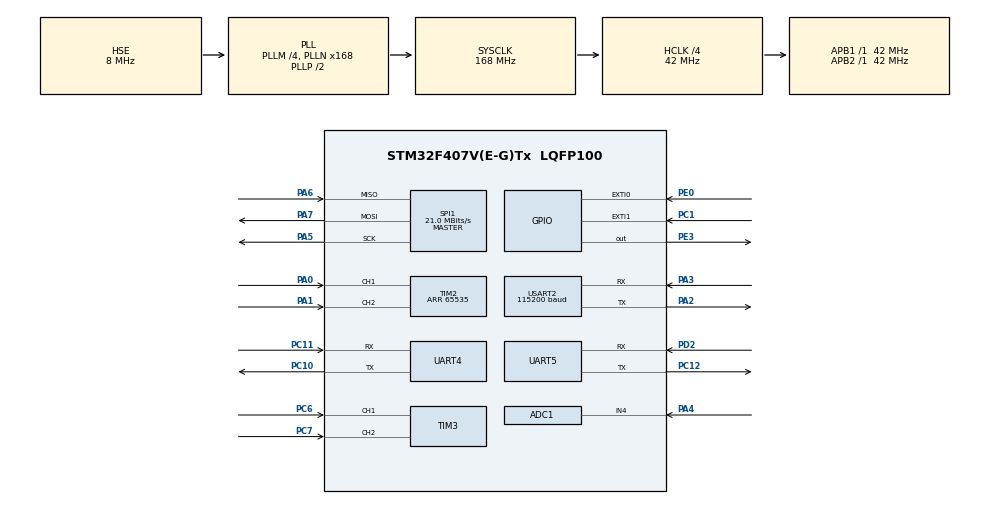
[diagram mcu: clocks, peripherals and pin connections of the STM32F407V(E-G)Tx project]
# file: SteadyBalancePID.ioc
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ADC1.Channel-0\#ChannelRegularConversion=ADC_CHANNEL_4
ADC1.ExternalTrigConv=ADC_EXTERNALTRIGCONV_T8_TRGO
ADC1.NbrOfConversionFlag=1
ADC1.Rank-0\#ChannelRegularConversion=1
ADC1.SamplingTime-0\#ChannelRegularConversion=ADC_SAMPLETIME_15CYCLES
ADC1.master=1
Mcu.Family=STM32F4
Mcu.Name=STM32F407V(E-G)Tx
Mcu.Package=LQFP100
NVIC.ADC_IRQn=true\:2\:0\:true\:false\:true\:true\:true\:true
NVIC.EXTI1_IRQn=true\:0\:0\:false\:false\:true\:true\:true\:true
NVIC.PriorityGroup=NVIC_PRIORITYGROUP_4
NVIC.TIM1_UP_TIM10_IRQn=true\:1\:0\:true\:false\:true\:true\:true\:true
NVIC.TIM8_TRG_COM_TIM14_IRQn=true\:2\:0\:true\:false\:true\:true\:true\:true
NVIC.TIM8_UP_TIM13_IRQn=true\:2\:0\:true\:false\:true\:true\:true\:true
PA0-WKUP.Signal=S_TIM2_CH1_ETR
PA1.Signal=S_TIM2_CH2
PA2.Mode=Asynchronous
PA2.Signal=USART2_TX
PA3.Mode=Asynchronous
PA3.Signal=USART2_RX
PA4.Signal=ADCx_IN4
PA5.Mode=Full_Duplex_Master
PA5.Signal=SPI1_SCK
PA6.Mode=Full_Duplex_Master
PA6.Signal=SPI1_MISO
PA7.Mode=Full_Duplex_Master
PA7.Signal=SPI1_MOSI
PC1.GPIO_ModeDefaultEXTI=GPIO_MODE_IT_FALLING
PC1.GPIO_PuPd=GPIO_PULLUP
PC1.Signal=GPXTI1
PC10.Mode=Asynchronous
PC10.Signal=UART4_TX
PC11.Mode=Asynchronous
PC11.Signal=UART4_RX
PC12.Mode=Asynchronous
PC12.Signal=UART5_TX
PC6.Signal=S_TIM3_CH1
PC7.Signal=S_TIM3_CH2
PD2.Mode=Asynchronous
PD2.Signal=UART5_RX
PE0.Signal=GPXTI0
PE3.Signal=GPIO_Output
PH0-OSC_IN.Mode=HSE-External-Oscillator
PH0-OSC_IN.Signal=RCC_OSC_IN
PH1-OSC_OUT.Mode=HSE-External-Oscillator
PH1-OSC_OUT.Signal=RCC_OSC_OUT
ProjectManager.HeapSize=0x200
ProjectManager.StackSize=0x400
ProjectManager.TargetToolchain=STM32CubeIDE
RCC.48MHZClocksFreq_Value=84000000
RCC.AHBCLKDivider=RCC_SYSCLK_DIV4
RCC.AHBFreq_Value=42000000
RCC.APB1Freq_Value=42000000
RCC.APB1TimFreq_Value=42000000
RCC.APB2Freq_Value=42000000
RCC.APB2TimFreq_Value=42000000
RCC.CortexFreq_Value=42000000
RCC.HCLKFreq_Value=42000000
RCC.HSE_VALUE=8000000
RCC.HSI_VALUE=16000000
RCC.LSE_VALUE=32768
RCC.PLLM=4
RCC.PLLN=168
RCC.PLLSourceVirtual=RCC_PLLSOURCE_HSE
RCC.SYSCLKFreq_VALUE=168000000
RCC.SYSCLKSource=RCC_SYSCLKSOURCE_PLLCLK
RCC.VCOOutputFreq_Value=336000000
SH.ADCx_IN4.0=ADC1_IN4,IN4
SH.S_TIM2_CH1_ETR.0=TIM2_CH1,Encoder_Interface
SH.S_TIM2_CH2.0=TIM2_CH2,Encoder_Interface
SH.S_TIM3_CH1.0=TIM3_CH1,Encoder_Interface
SH.S_TIM3_CH2.0=TIM3_CH2,Encoder_Interface
SPI1.BaudRatePrescaler=SPI_BAUDRATEPRESCALER_2
SPI1.CalculateBaudRate=21.0 MBits/s
SPI1.Direction=SPI_DIRECTION_2LINES
SPI1.Mode=SPI_MODE_MASTER
SPI1.VirtualType=VM_MASTER
TIM10.Period=10000
TIM10.Prescaler=42
TIM11.Prescaler=42
TIM13.Period=100
TIM13.Prescaler=4200
TIM14.Period=2000
TIM14.Prescaler=42
TIM2.EncoderMode=TIM_ENCODERMODE_TI12
TIM2.Period=65535
TIM3.EncoderMode=TIM_ENCODERMODE_TI12
TIM5.CounterMode=TIM_COUNTERMODE_DOWN
TIM5.Period=0
TIM5.Prescaler=42
TIM8.Period=10000
TIM8.Prescaler=42
TIM8.TIM_MasterOutputTrigger=TIM_TRGO_UPDATE
TIM8.TIM_MasterSlaveMode=TIM_MASTERSLAVEMODE_DISABLE
UART4.VirtualMode=Asynchronous
UART5.VirtualMode=Asynchronous
USART2.BaudRate=115200
USART2.VirtualMode=VM_ASYNC
VP_TIM10_VS_ClockSourceINT.Mode=Enable_Timer
VP_TIM11_VS_ClockSourceINT.Mode=Enable_Timer
VP_TIM13_VS_ClockSourceINT.Mode=Enable_Timer
VP_TIM14_VS_ClockSourceINT.Mode=Enable_Timer
VP_TIM5_VS_ClockSourceINT.Mode=Internal
VP_TIM8_VS_ClockSourceINT.Mode=Internal
board=custom

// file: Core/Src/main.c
/* USER CODE BEGIN Header */
/**
  ******************************************************************************
  * @file           : main.c
  * @brief          : Main program body
  ******************************************************************************
  * @attention
  *
  * Copyright (c) 2025 STMicroelectronics.
  * All rights reserved.
  *
  * This software is licensed under terms that can be found in the LICENSE file
  * in the root directory of this software component.
  * If no LICENSE file comes with this software, it is provided AS-IS.
  *
  ******************************************************************************
  */
/* USER CODE END Header */
#include "main.h"

/* USER CODE BEGIN Includes */
#include "qik_2s12v10_lib.h"
#include "accelerometer.h"
#include "gyroscope.h"
#include "encoders.h"
#include "control.h"
#include "uart_debug.h"
#include "filters.h"
#include "KalmanFilter.h"

/* USER CODE END Includes */

ADC_HandleTypeDef hadc1;

SPI_HandleTypeDef hspi1;

TIM_HandleTypeDef htim2;
TIM_HandleTypeDef htim3;
TIM_HandleTypeDef htim5;
TIM_HandleTypeDef htim8;
TIM_HandleTypeDef htim10;
TIM_HandleTypeDef htim11;
TIM_HandleTypeDef htim13;
TIM_HandleTypeDef htim14;

UART_HandleTypeDef huart4;
UART_HandleTypeDef huart5;
UART_HandleTypeDef huart2;

/* USER CODE BEGIN PV */

volatile uint16_t cnt1, cnt2, cnt3, cnt4;

/* USER CODE END PV */

void SystemClock_Config(void);
static void MX_GPIO_Init(void);
static void MX_SPI1_Init(void);
static void MX_ADC1_Init(void);
static void MX_TIM2_Init(void);
static void MX_TIM3_Init(void);
static void MX_USART2_UART_Init(void);
static void MX_TIM10_Init(void);
static void MX_UART4_Init(void);
static void MX_UART5_Init(void);
static void MX_TIM11_Init(void);
static void MX_TIM5_Init(void);
static void MX_TIM8_Init(void);
static void MX_TIM14_Init(void);
static void MX_TIM13_Init(void);

int main(void)
{

  /* MCU Configuration--------------------------------------------------------*/

  /* Reset of all peripherals, Initializes the Flash interface and the Systick. */
  HAL_Init();

  /* Configure the system clock */
  SystemClock_Config();

  /* Initialize all configured peripherals */
  MX_GPIO_Init();
  MX_SPI1_Init();
  MX_ADC1_Init();
  MX_TIM2_Init();
  MX_TIM3_Init();
  MX_USART2_UART_Init();
  MX_TIM10_Init();
  MX_UART4_Init();
  MX_UART5_Init();
  MX_TIM11_Init();
  MX_TIM5_Init();
  MX_TIM8_Init();
  MX_TIM14_Init();
  MX_TIM13_Init();
  /* USER CODE BEGIN 2 */

  KalmanInit();

  HAL_TIM_Base_Start(&htim8);
  HAL_ADC_Start_IT(&hadc1);

  calculateGyroAVelocityBase(50);

  AccelInit(&hspi1);

//  __HAL_TIM_SET_COMPARE(&htim10,TIM_CHANNEL_1, 10); // questionable?

  HAL_TIM_Encoder_Start(&htim2, TIM_CHANNEL_1);
  HAL_TIM_Encoder_Start(&htim2, TIM_CHANNEL_2);

  __HAL_TIM_SET_COUNTER(&htim3, START_POSITION);				// middle position
  HAL_TIM_Encoder_Start(&htim3, TIM_CHANNEL_1);
  HAL_TIM_Encoder_Start(&htim3, TIM_CHANNEL_2);

  HAL_TIM_Base_Start_IT(&htim10);	// 10ms
  HAL_TIM_Base_Start_IT(&htim14);	// 2ms
  HAL_TIM_Base_Start_IT(&htim13);	// 100ms

  //IIR3_Init(&lFilter, b, a);
  //IIR3_Init(&rFilter, b, a);

  /* USER CODE END 2 */

  /* Infinite loop */
  /* USER CODE BEGIN WHILE */
  while (1)
  {
	  // Test

	  //TestDriver(&huart2);
	  //readAccelerometer(&hspi1);
	  //volatile gyroAngle;

	   //readAccelerometer(&hspi1);
	   //getEncoders(&htim2, &htim3);
	   //calculateSpeed();
	   //pcTransmitBin(&huart5);
	   //moveMotors(&huart2, &htim5, speed);

    /* USER CODE END WHILE */

  }
}

void SystemClock_Config(void)
{
  RCC_OscInitTypeDef RCC_OscInitStruct = {0};
  RCC_ClkInitTypeDef RCC_ClkInitStruct = {0};

  /** Configure the main internal regulator output voltage
  */
  __HAL_RCC_PWR_CLK_ENABLE();
  __HAL_PWR_VOLTAGESCALING_CONFIG(PWR_REGULATOR_VOLTAGE_SCALE1);

  /** Initializes the RCC Oscillators according to the specified parameters
  * in the RCC_OscInitTypeDef structure.
  */
  RCC_OscInitStruct.OscillatorType = RCC_OSCILLATORTYPE_HSE;
  RCC_OscInitStruct.HSEState = RCC_HSE_ON;
  RCC_OscInitStruct.PLL.PLLState = RCC_PLL_ON;
  RCC_OscInitStruct.PLL.PLLSource = RCC_PLLSOURCE_HSE;
  RCC_OscInitStruct.PLL.PLLM = 4;
  RCC_OscInitStruct.PLL.PLLN = 168;
  RCC_OscInitStruct.PLL.PLLP = RCC_PLLP_DIV2;
  RCC_OscInitStruct.PLL.PLLQ = 4;
  if (HAL_RCC_OscConfig(&RCC_OscInitStruct) != HAL_OK)
  {
    Error_Handler();
  }

  /** Initializes the CPU, AHB and APB buses clocks
  */
  RCC_ClkInitStruct.ClockType = RCC_CLOCKTYPE_HCLK|RCC_CLOCKTYPE_SYSCLK
                              |RCC_CLOCKTYPE_PCLK1|RCC_CLOCKTYPE_PCLK2;
  RCC_ClkInitStruct.SYSCLKSource = RCC_SYSCLKSOURCE_PLLCLK;
  RCC_ClkInitStruct.AHBCLKDivider = RCC_SYSCLK_DIV4;
  RCC_ClkInitStruct.APB1CLKDivider = RCC_HCLK_DIV1;
  RCC_ClkInitStruct.APB2CLKDivider = RCC_HCLK_DIV1;

  if (HAL_RCC_ClockConfig(&RCC_ClkInitStruct, FLASH_LATENCY_1) != HAL_OK)
  {
    Error_Handler();
  }
}

static void MX_ADC1_Init(void)
{

  ADC_ChannelConfTypeDef sConfig = {0};

  /** Configure the global features of the ADC (Clock, Resolution, Data Alignment and number of conversion)
  */
  hadc1.Instance = ADC1;
  hadc1.Init.ClockPrescaler = ADC_CLOCK_SYNC_PCLK_DIV2;
  hadc1.Init.Resolution = ADC_RESOLUTION_12B;
  hadc1.Init.ScanConvMode = DISABLE;
  hadc1.Init.ContinuousConvMode = DISABLE;
  hadc1.Init.DiscontinuousConvMode = DISABLE;
  hadc1.Init.ExternalTrigConvEdge = ADC_EXTERNALTRIGCONVEDGE_RISING;
  hadc1.Init.ExternalTrigConv = ADC_EXTERNALTRIGCONV_T8_TRGO;
  hadc1.Init.DataAlign = ADC_DATAALIGN_RIGHT;
  hadc1.Init.NbrOfConversion = 1;
  hadc1.Init.DMAContinuousRequests = DISABLE;
  hadc1.Init.EOCSelection = ADC_EOC_SINGLE_CONV;
  if (HAL_ADC_Init(&hadc1) != HAL_OK)
  {
    Error_Handler();
  }

  /** Configure for the selected ADC regular channel its corresponding rank in the sequencer and its sample time.
  */
  sConfig.Channel = ADC_CHANNEL_4;
  sConfig.Rank = 1;
  sConfig.SamplingTime = ADC_SAMPLETIME_15CYCLES;
  if (HAL_ADC_ConfigChannel(&hadc1, &sConfig) != HAL_OK)
  {
    Error_Handler();
  }

}

static void MX_SPI1_Init(void)
{

  /* SPI1 parameter configuration*/
  hspi1.Instance = SPI1;
  hspi1.Init.Mode = SPI_MODE_MASTER;
  hspi1.Init.Direction = SPI_DIRECTION_2LINES;
  hspi1.Init.DataSize = SPI_DATASIZE_8BIT;
  hspi1.Init.CLKPolarity = SPI_POLARITY_LOW;
  hspi1.Init.CLKPhase = SPI_PHASE_1EDGE;
  hspi1.Init.NSS = SPI_NSS_SOFT;
  hspi1.Init.BaudRatePrescaler = SPI_BAUDRATEPRESCALER_2;
  hspi1.Init.FirstBit = SPI_FIRSTBIT_MSB;
  hspi1.Init.TIMode = SPI_TIMODE_DISABLE;
  hspi1.Init.CRCCalculation = SPI_CRCCALCULATION_DISABLE;
  hspi1.Init.CRCPolynomial = 10;
  if (HAL_SPI_Init(&hspi1) != HAL_OK)
  {
    Error_Handler();
  }

}

static void MX_TIM2_Init(void)
{

  TIM_Encoder_InitTypeDef sConfig = {0};
  TIM_MasterConfigTypeDef sMasterConfig = {0};

  htim2.Instance = TIM2;
  htim2.Init.Prescaler = 0;
  htim2.Init.CounterMode = TIM_COUNTERMODE_UP;
  htim2.Init.Period = 65535;
  htim2.Init.ClockDivision = TIM_CLOCKDIVISION_DIV1;
  htim2.Init.AutoReloadPreload = TIM_AUTORELOAD_PRELOAD_DISABLE;
  sConfig.EncoderMode = TIM_ENCODERMODE_TI12;
  sConfig.IC1Polarity = TIM_ICPOLARITY_RISING;
  sConfig.IC1Selection = TIM_ICSELECTION_DIRECTTI;
  sConfig.IC1Prescaler = TIM_ICPSC_DIV1;
  sConfig.IC1Filter = 0;
  sConfig.IC2Polarity = TIM_ICPOLARITY_RISING;
  sConfig.IC2Selection = TIM_ICSELECTION_DIRECTTI;
  sConfig.IC2Prescaler = TIM_ICPSC_DIV1;
  sConfig.IC2Filter = 0;
  if (HAL_TIM_Encoder_Init(&htim2, &sConfig) != HAL_OK)
  {
    Error_Handler();
  }
  sMasterConfig.MasterOutputTrigger = TIM_TRGO_RESET;
  sMasterConfig.MasterSlaveMode = TIM_MASTERSLAVEMODE_DISABLE;
  if (HAL_TIMEx_MasterConfigSynchronization(&htim2, &sMasterConfig) != HAL_OK)
  {
    Error_Handler();
  }

}

static void MX_TIM3_Init(void)
{

  TIM_Encoder_InitTypeDef sConfig = {0};
  TIM_MasterConfigTypeDef sMasterConfig = {0};

  htim3.Instance = TIM3;
  htim3.Init.Prescaler = 0;
  htim3.Init.CounterMode = TIM_COUNTERMODE_UP;
  htim3.Init.Period = 65535;
  htim3.Init.ClockDivision = TIM_CLOCKDIVISION_DIV1;
  htim3.Init.AutoReloadPreload = TIM_AUTORELOAD_PRELOAD_DISABLE;
  sConfig.EncoderMode = TIM_ENCODERMODE_TI12;
  sConfig.IC1Polarity = TIM_ICPOLARITY_RISING;
  sConfig.IC1Selection = TIM_ICSELECTION_DIRECTTI;
  sConfig.IC1Prescaler = TIM_ICPSC_DIV1;
  sConfig.IC1Filter = 0;
  sConfig.IC2Polarity = TIM_ICPOLARITY_RISING;
  sConfig.IC2Selection = TIM_ICSELECTION_DIRECTTI;
  sConfig.IC2Prescaler = TIM_ICPSC_DIV1;
  sConfig.IC2Filter = 0;
  if (HAL_TIM_Encoder_Init(&htim3, &sConfig) != HAL_OK)
  {
    Error_Handler();
  }
  sMasterConfig.MasterOutputTrigger = TIM_TRGO_RESET;
  sMasterConfig.MasterSlaveMode = TIM_MASTERSLAVEMODE_DISABLE;
  if (HAL_TIMEx_MasterConfigSynchronization(&htim3, &sMasterConfig) != HAL_OK)
  {
    Error_Handler();
  }

}

static void MX_TIM5_Init(void)
{

  TIM_ClockConfigTypeDef sClockSourceConfig = {0};
  TIM_MasterConfigTypeDef sMasterConfig = {0};

  htim5.Instance = TIM5;
  htim5.Init.Prescaler = 42;
  htim5.Init.CounterMode = TIM_COUNTERMODE_DOWN;
  htim5.Init.Period = 0;
  htim5.Init.ClockDivision = TIM_CLOCKDIVISION_DIV1;
  htim5.Init.AutoReloadPreload = TIM_AUTORELOAD_PRELOAD_DISABLE;
  if (HAL_TIM_Base_Init(&htim5) != HAL_OK)
  {
    Error_Handler();
  }
  sClockSourceConfig.ClockSource = TIM_CLOCKSOURCE_INTERNAL;
  if (HAL_TIM_ConfigClockSource(&htim5, &sClockSourceConfig) != HAL_OK)
  {
    Error_Handler();
  }
  sMasterConfig.MasterOutputTrigger = TIM_TRGO_RESET;
  sMasterConfig.MasterSlaveMode = TIM_MASTERSLAVEMODE_DISABLE;
  if (HAL_TIMEx_MasterConfigSynchronization(&htim5, &sMasterConfig) != HAL_OK)
  {
    Error_Handler();
  }

}

static void MX_TIM8_Init(void)
{

  TIM_ClockConfigTypeDef sClockSourceConfig = {0};
  TIM_MasterConfigTypeDef sMasterConfig = {0};

  htim8.Instance = TIM8;
  htim8.Init.Prescaler = 42;
  htim8.Init.CounterMode = TIM_COUNTERMODE_UP;
  htim8.Init.Period = 10000;
  htim8.Init.ClockDivision = TIM_CLOCKDIVISION_DIV1;
  htim8.Init.RepetitionCounter = 0;
  htim8.Init.AutoReloadPreload = TIM_AUTORELOAD_PRELOAD_DISABLE;
  if (HAL_TIM_Base_Init(&htim8) != HAL_OK)
  {
    Error_Handler();
  }
  sClockSourceConfig.ClockSource = TIM_CLOCKSOURCE_INTERNAL;
  if (HAL_TIM_ConfigClockSource(&htim8, &sClockSourceConfig) != HAL_OK)
  {
    Error_Handler();
  }
  sMasterConfig.MasterOutputTrigger = TIM_TRGO_UPDATE;
  sMasterConfig.MasterSlaveMode = TIM_MASTERSLAVEMODE_DISABLE;
  if (HAL_TIMEx_MasterConfigSynchronization(&htim8, &sMasterConfig) != HAL_OK)
  {
    Error_Handler();
  }

}

static void MX_TIM10_Init(void)
{

  htim10.Instance = TIM10;
  htim10.Init.Prescaler = 42;
  htim10.Init.CounterMode = TIM_COUNTERMODE_UP;
  htim10.Init.Period = 10000;
  htim10.Init.ClockDivision = TIM_CLOCKDIVISION_DIV1;
  htim10.Init.AutoReloadPreload = TIM_AUTORELOAD_PRELOAD_DISABLE;
  if (HAL_TIM_Base_Init(&htim10) != HAL_OK)
  {
    Error_Handler();
  }

}

static void MX_TIM11_Init(void)
{

  htim11.Instance = TIM11;
  htim11.Init.Prescaler = 42;
  htim11.Init.CounterMode = TIM_COUNTERMODE_UP;
  htim11.Init.Period = 65535;
  htim11.Init.ClockDivision = TIM_CLOCKDIVISION_DIV1;
  htim11.Init.AutoReloadPreload = TIM_AUTORELOAD_PRELOAD_DISABLE;
  if (HAL_TIM_Base_Init(&htim11) != HAL_OK)
  {
    Error_Handler();
  }

}

static void MX_TIM13_Init(void)
{

  htim13.Instance = TIM13;
  htim13.Init.Prescaler = 4200;
  htim13.Init.CounterMode = TIM_COUNTERMODE_UP;
  htim13.Init.Period = 100;
  htim13.Init.ClockDivision = TIM_CLOCKDIVISION_DIV1;
  htim13.Init.AutoReloadPreload = TIM_AUTORELOAD_PRELOAD_DISABLE;
  if (HAL_TIM_Base_Init(&htim13) != HAL_OK)
  {
    Error_Handler();
  }

}

static void MX_TIM14_Init(void)
{

  htim14.Instance = TIM14;
  htim14.Init.Prescaler = 42;
  htim14.Init.CounterMode = TIM_COUNTERMODE_UP;
  htim14.Init.Period = 2000;
  htim14.Init.ClockDivision = TIM_CLOCKDIVISION_DIV1;
  htim14.Init.AutoReloadPreload = TIM_AUTORELOAD_PRELOAD_DISABLE;
  if (HAL_TIM_Base_Init(&htim14) != HAL_OK)
  {
    Error_Handler();
  }

}

static void MX_UART4_Init(void)
{

  huart4.Instance = UART4;
  huart4.Init.BaudRate = 115200;
  huart4.Init.WordLength = UART_WORDLENGTH_8B;
  huart4.Init.StopBits = UART_STOPBITS_1;
  huart4.Init.Parity = UART_PARITY_NONE;
  huart4.Init.Mode = UART_MODE_TX_RX;
  huart4.Init.HwFlowCtl = UART_HWCONTROL_NONE;
  huart4.Init.OverSampling = UART_OVERSAMPLING_16;
  if (HAL_UART_Init(&huart4) != HAL_OK)
  {
    Error_Handler();
  }

}

static void MX_UART5_Init(void)
{

  huart5.Instance = UART5;
  huart5.Init.BaudRate = 115200;
  huart5.Init.WordLength = UART_WORDLENGTH_8B;
  huart5.Init.StopBits = UART_STOPBITS_1;
  huart5.Init.Parity = UART_PARITY_NONE;
  huart5.Init.Mode = UART_MODE_TX_RX;
  huart5.Init.HwFlowCtl = UART_HWCONTROL_NONE;
  huart5.Init.OverSampling = UART_OVERSAMPLING_16;
  if (HAL_UART_Init(&huart5) != HAL_OK)
  {
    Error_Handler();
  }

}

static void MX_USART2_UART_Init(void)
{

  huart2.Instance = USART2;
  huart2.Init.BaudRate = 115200;
  huart2.Init.WordLength = UART_WORDLENGTH_8B;
  huart2.Init.StopBits = UART_STOPBITS_1;
  huart2.Init.Parity = UART_PARITY_NONE;
  huart2.Init.Mode = UART_MODE_TX_RX;
  huart2.Init.HwFlowCtl = UART_HWCONTROL_NONE;
  huart2.Init.OverSampling = UART_OVERSAMPLING_16;
  if (HAL_UART_Init(&huart2) != HAL_OK)
  {
    Error_Handler();
  }

}

static void MX_GPIO_Init(void)
{
  GPIO_InitTypeDef GPIO_InitStruct = {0};

  /* GPIO Ports Clock Enable */
  __HAL_RCC_GPIOE_CLK_ENABLE();
  __HAL_RCC_GPIOH_CLK_ENABLE();
  __HAL_RCC_GPIOC_CLK_ENABLE();
  __HAL_RCC_GPIOA_CLK_ENABLE();
  __HAL_RCC_GPIOD_CLK_ENABLE();

  /*Configure GPIO pin Output Level */
  HAL_GPIO_WritePin(GPIOE, GPIO_PIN_3, GPIO_PIN_RESET);

  /*Configure GPIO pin : PE3 */
  GPIO_InitStruct.Pin = GPIO_PIN_3;
  GPIO_InitStruct.Mode = GPIO_MODE_OUTPUT_PP;
  GPIO_InitStruct.Pull = GPIO_NOPULL;
  GPIO_InitStruct.Speed = GPIO_SPEED_FREQ_LOW;
  HAL_GPIO_Init(GPIOE, &GPIO_InitStruct);

  /*Configure GPIO pin : PC1 */
  GPIO_InitStruct.Pin = GPIO_PIN_1;
  GPIO_InitStruct.Mode = GPIO_MODE_IT_FALLING;
  GPIO_InitStruct.Pull = GPIO_PULLUP;
  HAL_GPIO_Init(GPIOC, &GPIO_InitStruct);

  /*Configure GPIO pin : PE0 */
  GPIO_InitStruct.Pin = GPIO_PIN_0;
  GPIO_InitStruct.Mode = GPIO_MODE_IT_RISING;
  GPIO_InitStruct.Pull = GPIO_NOPULL;
  HAL_GPIO_Init(GPIOE, &GPIO_InitStruct);

  /* EXTI interrupt init*/
  HAL_NVIC_SetPriority(EXTI1_IRQn, 0, 0);
  HAL_NVIC_EnableIRQ(EXTI1_IRQn);

}

/* USER CODE BEGIN 4 */

void HAL_TIM_PeriodElapsedCallback(TIM_HandleTypeDef *htim)
{
	if (htim->Instance == TIM14){

		  __HAL_TIM_SET_COUNTER(&htim11, 0);
		  HAL_TIM_Base_Start(&htim11);

		  getEncoders(&htim2, &htim3);
		  filterEncodersMovingAverage();
//		  lSpeed = IIR3_Process(&lFilter, encoderLSpeed);
//		  lSpeed = movingAverage(MAValuesL, lSpeed, EncoderMovAvgOrder-1);
//		  rSpeed = IIR3_Process(&rFilter, encoderRSpeed);
//		  rSpeed = movingAverage(MAValuesR, rSpeed, EncoderMovAvgOrder-1);

		  rightCtrl = motorControl(speed, rSpeed, Kp0, Ki0, Kd0, &integralR, &previousRSpeed, encoderTd, &dirR);
		  leftCtrl = motorControl(speed, -lSpeed, Kp0, Ki0, Kd0, &integralL, &previousLSpeed, encoderTd, &dirL);
		  float fRCtrl = (float)rightCtrl;

		  RightMotorSpeed(&huart2, &rightCtrl, dirR);
		  LeftMotorSpeed(&huart2, &leftCtrl, dirL);

//		  HAL_UART_Transmit(&huart5, &rSpeed, 4, 1);
//		  HAL_UART_Transmit(&huart5, &fRCtrl, 4, 1);
//		  HAL_UART_Transmit(&huart5, &speed, 4, 1);

		  HAL_TIM_Base_Stop(&htim11);
		  cnt1 = __HAL_TIM_GET_COUNTER(&htim11);

	}
	if (htim->Instance == TIM10){
		  __HAL_TIM_SET_COUNTER(&htim11, 0);
	  	  HAL_TIM_Base_Start(&htim11);

	  	  readAccelerometer(&hspi1);
		  KalmanPredict();
		  KalmanUpdate();
		  speed = calculateTargetSpeed(targetAngle, X_data[0], X_data[1], Kp1, Ki1, Kd1, &integralAngle, &previousFilteredAngle, angleTd);

		  float targetPositionf = (float)targetPosition;
		  HAL_UART_Transmit(&huart5, &targetPositionf, 4, 1);
		  float currentPositionf = (float)currentPosition;
		  HAL_UART_Transmit(&huart5, &currentPositionf, 4, 1);
		  HAL_UART_Transmit(&huart5, &targetAngle, 4, 1);
		  HAL_UART_Transmit(&huart5, &X_data[0], 4, 1);
		  HAL_UART_Transmit(&huart5, &X_data[1], 4, 1);

		  HAL_UART_Transmit(&huart5, &accAngle, 4, 1);
		  HAL_UART_Transmit(&huart5, &angularVelocity, 4, 1);

		  HAL_UART_Transmit(&huart5, &speed, 4, 1);
		  HAL_UART_Transmit(&huart5, &rSpeed, 4, 1);
		  float rightCtrlf = (float)rightCtrl;
		  if (dirR == 2){
			  rightCtrlf *= -1;
		  }
		  HAL_UART_Transmit(&huart5, &rightCtrlf, 4, 1);

		  HAL_TIM_Base_Stop(&htim11);
		  cnt2 = __HAL_TIM_GET_COUNTER(&htim11);
	}
	if (htim->Instance == TIM13){
		  __HAL_TIM_SET_COUNTER(&htim11, 0);
		  HAL_TIM_Base_Start(&htim11);

		  // todo does the casting work?
		  currentPosition = __HAL_TIM_GET_COUNTER(&htim3);

		  // TODO PID that gets position -> target angle
		  targetAngle = CalculateTargetAngle(targetPosition, currentPosition, rSpeed, Kp2, Ki2, Kd2, &integralPosition, &previousSetAngle, positionTd);

		  HAL_TIM_Base_Stop(&htim11);
		  cnt4 = __HAL_TIM_GET_COUNTER(&htim11);
	}
}

void HAL_ADC_ConvCpltCallback(ADC_HandleTypeDef *hadc)
{
  /* Prevent unused argument(s) compilation warning */
  UNUSED(hadc);
  /* NOTE : This function Should not be modified, when the callback is needed,
            the HAL_ADC_ConvCpltCallback could be implemented in the user file
   */
  __HAL_TIM_SET_COUNTER(&htim11, 0);
  HAL_TIM_Base_Start(&htim11);

  gyroValue = HAL_ADC_GetValue(hadc);
  calculateGyroAngle();

  HAL_TIM_Base_Stop(&htim11);
  cnt3 = __HAL_TIM_GET_COUNTER(&htim11);

}

void HAL_GPIO_EXTI_Callback(uint16_t GPIO_Pin)
{
    if (GPIO_Pin == GPIO_PIN_1)   // Check which pin triggered
    {
    	  // get error register motor driver

    	  HAL_UART_Transmit(&huart2, &errorRegisterAddress, 1, 1);
    	  HAL_UART_Receive(&huart2, &errorRegisterData, 1, 1);
    	  while(HAL_GPIO_ReadPin(GPIOC, GPIO_PIN_1) == GPIO_PIN_RESET){
    		  errorRegisterData;
    	  }
    }
}

/* USER CODE END 4 */

void Error_Handler(void)
{
  __disable_irq();
  while (1)
  {
  }
}
